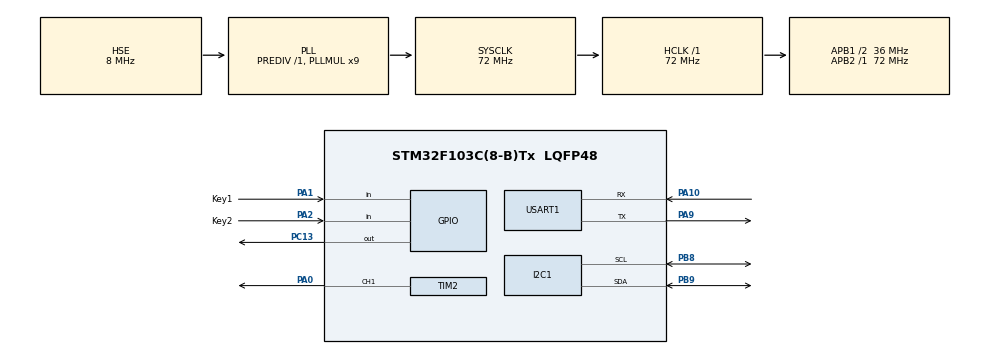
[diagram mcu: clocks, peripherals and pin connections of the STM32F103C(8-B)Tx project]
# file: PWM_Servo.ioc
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Mcu.Family=STM32F1
Mcu.Name=STM32F103C(8-B)Tx
Mcu.Package=LQFP48
NVIC.PriorityGroup=NVIC_PRIORITYGROUP_4
PA0-WKUP.Signal=S_TIM2_CH1_ETR
PA1.GPIO_Label=Key1
PA1.GPIO_PuPd=GPIO_PULLUP
PA1.Signal=GPIO_Input
PA10.Mode=Asynchronous
PA10.Signal=USART1_RX
PA13.Mode=Serial_Wire
PA13.Signal=SYS_JTMS-SWDIO
PA14.Mode=Serial_Wire
PA14.Signal=SYS_JTCK-SWCLK
PA2.GPIO_Label=Key2
PA2.GPIO_PuPd=GPIO_PULLUP
PA2.Signal=GPIO_Input
PA9.Mode=Asynchronous
PA9.Signal=USART1_TX
PB8.Mode=I2C
PB8.Signal=I2C1_SCL
PB9.Mode=I2C
PB9.Signal=I2C1_SDA
PC13-TAMPER-RTC.GPIO_PuPd=GPIO_NOPULL
PC13-TAMPER-RTC.PinState=GPIO_PIN_SET
PC13-TAMPER-RTC.Signal=GPIO_Output
PD0-OSC_IN.Mode=HSE-External-Oscillator
PD0-OSC_IN.Signal=RCC_OSC_IN
PD1-OSC_OUT.Mode=HSE-External-Oscillator
PD1-OSC_OUT.Signal=RCC_OSC_OUT
ProjectManager.HeapSize=0x200
ProjectManager.StackSize=0x400
ProjectManager.TargetToolchain=CMake
RCC.AHBFreq_Value=72000000
RCC.APB1CLKDivider=RCC_HCLK_DIV2
RCC.APB1Freq_Value=36000000
RCC.APB1TimFreq_Value=72000000
RCC.APB2Freq_Value=72000000
RCC.APB2TimFreq_Value=72000000
RCC.HCLKFreq_Value=72000000
RCC.PLLMUL=RCC_PLL_MUL9
RCC.PLLSourceVirtual=RCC_PLLSOURCE_HSE
RCC.SYSCLKFreq_VALUE=72000000
RCC.SYSCLKSource=RCC_SYSCLKSOURCE_PLLCLK
RCC.USBFreq_Value=72000000
SH.S_TIM2_CH1_ETR.0=TIM2_CH1,PWM Generation1 CH1
TIM2.Channel-PWM\ Generation1\ CH1=TIM_CHANNEL_1
TIM2.Period=20000-1
TIM2.Prescaler=72-1
USART1.VirtualMode=VM_ASYNC
board=custom

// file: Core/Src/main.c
/* USER CODE BEGIN Header */
/**
  ******************************************************************************
  * @file           : main.c
  * @brief          : Main program body
  ******************************************************************************
  * @attention
  *
  * Copyright (c) 2026 STMicroelectronics.
  * All rights reserved.
  *
  * This software is licensed under terms that can be found in the LICENSE file
  * in the root directory of this software component.
  * If no LICENSE file comes with this software, it is provided AS-IS.
  *
  ******************************************************************************
  */
/* USER CODE END Header */
#include "main.h"
#include "i2c.h"
#include "tim.h"
#include "usart.h"
#include "gpio.h"

/* USER CODE BEGIN Includes */
#include "servo.h"
#include"stdio.h"
#include"OLED.h"
/* USER CODE END Includes */

void SystemClock_Config(void);

/* USER CODE BEGIN 0 */

int _write(int fd, char *ptr, int len)
{
  HAL_UART_Transmit(&huart1, (uint8_t *)ptr, len, 100);
  return len;
}
#define KEY_ADD_PORT  GPIOA
#define KEY_ADD_PIN   GPIO_PIN_1
#define KEY_SUB_PORT  GPIOA
#define KEY_SUB_PIN   GPIO_PIN_2

// 返回：1 = 加15°，2 = 减15°，0 = 无动作
static uint8_t Key_Scan(void)
{
  static uint8_t last1 = 1, last2 = 1;
  uint8_t ret = 0;

  uint8_t k1 = HAL_GPIO_ReadPin(Key1_GPIO_Port, Key1_Pin);
  uint8_t k2 = HAL_GPIO_ReadPin(Key2_GPIO_Port, Key2_Pin);

  if (k1 != last1) {
    HAL_Delay(20);
    if (HAL_GPIO_ReadPin(Key1_GPIO_Port, Key1_Pin) == k1) {
      if (k1 == 0) ret = 1;
      last1 = k1;
    }
  }
  if (k2 != last2) {
    HAL_Delay(20);
    if (HAL_GPIO_ReadPin(Key2_GPIO_Port, Key2_Pin) == k2) {
      if (k2 == 0) ret = 2;
      last2 = k2;
    }
  }
  return ret;
}
/* USER CODE END 0 */

int main(void)
{

  /* MCU Configuration--------------------------------------------------------*/

  /* Reset of all peripherals, Initializes the Flash interface and the Systick. */
  HAL_Init();

  /* Configure the system clock */
  SystemClock_Config();

  /* Initialize all configured peripherals */
  MX_GPIO_Init();
  MX_I2C1_Init();
  MX_TIM2_Init();
  MX_USART1_UART_Init();
  /* USER CODE BEGIN 2 */
 OLED_Init();
 const float seq[5] = {0.0f, 45.0f, 90.0f, 135.0f, 180.0f};
float angle = 90.0f;
  Servo_SetAngle(angle);
  HAL_TIM_PWM_Start(&htim2, TIM_CHANNEL_1);
  OLED_ShowAll(angle);
  /* USER CODE END 2 */

  /* Infinite loop */
  /* USER CODE BEGIN WHILE */
  while (1)
  {

      uint8_t key = Key_Scan();

      /* 1. 先按一次改角度 */
      if (key == 1) angle += 15.0f;
      if (key == 2) angle -= 15.0f;

      /* 2. 立刻限幅 0~180（在更新显示之前做，OLED 才不会显示超范围数字） */
      if (angle > 180.0f) angle = 180.0f;
      if (angle <   0.0f) angle =  0.0f;

      /* 3. 只有真按下才发 PWM + 刷新 OLED（按键还按着也照样执行，不等松开） */
      if (key != 0)
      {
        Servo_SetAngle(angle);
        OLED_ShowAll(angle);
        printf("Target=%3d CCR=%4d Pulse=%d.%03dms\r\n",
               (int)angle, AngleToCCR(angle),
               AngleToCCR(angle) / 1000, AngleToCCR(angle) % 1000);
      }

      HAL_Delay(10);   // 主循环节拍
    }

    /* USER CODE END WHILE */

  }

void SystemClock_Config(void)
{
  RCC_OscInitTypeDef RCC_OscInitStruct = {0};
  RCC_ClkInitTypeDef RCC_ClkInitStruct = {0};

  /** Initializes the RCC Oscillators according to the specified parameters
  * in the RCC_OscInitTypeDef structure.
  */
  RCC_OscInitStruct.OscillatorType = RCC_OSCILLATORTYPE_HSE;
  RCC_OscInitStruct.HSEState = RCC_HSE_ON;
  RCC_OscInitStruct.HSEPredivValue = RCC_HSE_PREDIV_DIV1;
  RCC_OscInitStruct.HSIState = RCC_HSI_ON;
  RCC_OscInitStruct.PLL.PLLState = RCC_PLL_ON;
  RCC_OscInitStruct.PLL.PLLSource = RCC_PLLSOURCE_HSE;
  RCC_OscInitStruct.PLL.PLLMUL = RCC_PLL_MUL9;
  if (HAL_RCC_OscConfig(&RCC_OscInitStruct) != HAL_OK)
  {
    Error_Handler();
  }

  /** Initializes the CPU, AHB and APB buses clocks
  */
  RCC_ClkInitStruct.ClockType = RCC_CLOCKTYPE_HCLK|RCC_CLOCKTYPE_SYSCLK
                              |RCC_CLOCKTYPE_PCLK1|RCC_CLOCKTYPE_PCLK2;
  RCC_ClkInitStruct.SYSCLKSource = RCC_SYSCLKSOURCE_PLLCLK;
  RCC_ClkInitStruct.AHBCLKDivider = RCC_SYSCLK_DIV1;
  RCC_ClkInitStruct.APB1CLKDivider = RCC_HCLK_DIV2;
  RCC_ClkInitStruct.APB2CLKDivider = RCC_HCLK_DIV1;

  if (HAL_RCC_ClockConfig(&RCC_ClkInitStruct, FLASH_LATENCY_2) != HAL_OK)
  {
    Error_Handler();
  }
}

void Error_Handler(void)
{
  __disable_irq();
  while (1)
  {
  }
}
